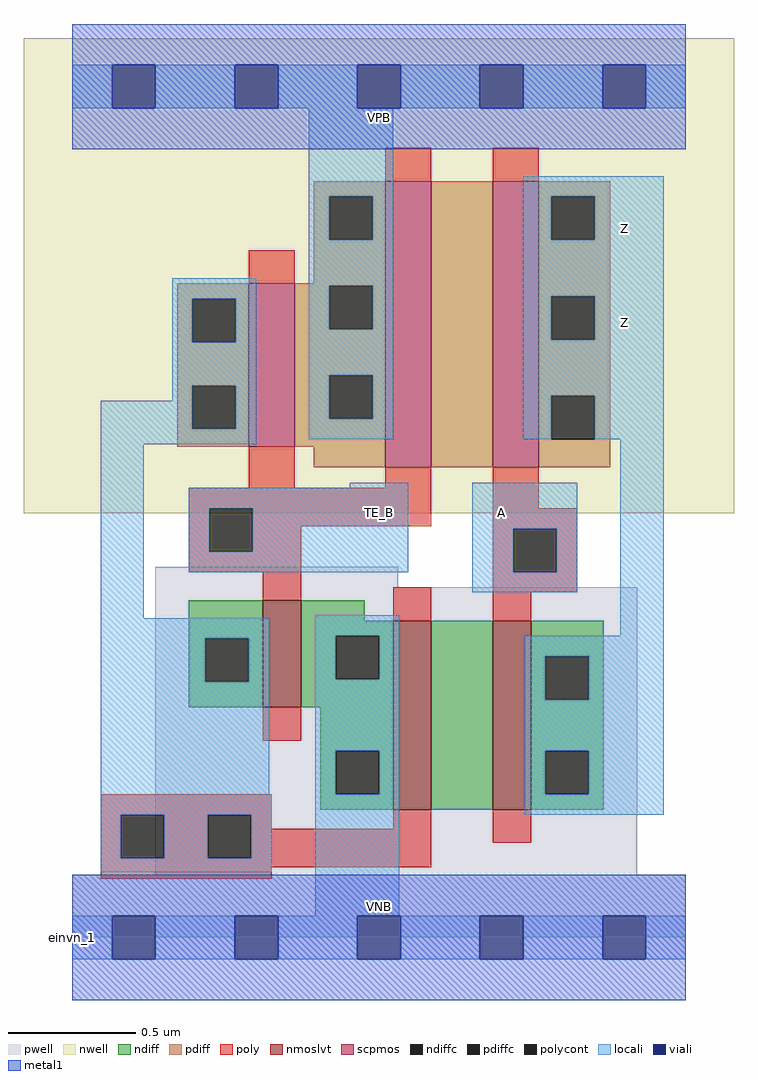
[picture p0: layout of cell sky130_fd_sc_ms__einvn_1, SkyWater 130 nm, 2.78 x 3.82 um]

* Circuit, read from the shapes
.subckt sky130_fd_sc_ms__einvn_1 A TE_B VGND VNB VPB VPWR Z
XM1 VGND TE_B n1 VNB sky130_fd_pr__nfet_01v8_lvt w=0.42 l=0.15
XM2 n2 n1 VGND VNB sky130_fd_pr__nfet_01v8_lvt w=0.74 l=0.15
XM3 Z A n2 VNB sky130_fd_pr__nfet_01v8_lvt w=0.74 l=0.15
XM4 VPWR TE_B n1 VPB sky130_fd_pr__pfet_01v8 w=0.64 l=0.18
XM5 n3 TE_B VPWR VPB sky130_fd_pr__pfet_01v8 w=1.12 l=0.18
XM6 Z A n3 VPB sky130_fd_pr__pfet_01v8 w=1.12 l=0.18
.ends

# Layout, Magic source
magic
tech sky130A
magscale 1 2
<< nwell >>
rect -38 332 518 704
<< pwell >>
rect 65 274 255 290
rect 65 49 442 274
rect 0 0 480 49
<< scpmos >>
rect 138 384 174 512
rect 245 368 281 592
rect 329 368 365 592
<< nmoslvt >>
rect 149 180 179 264
rect 251 100 281 248
rect 329 100 359 248
<< ndiff >>
rect 91 234 149 264
rect 91 200 104 234
rect 138 200 149 234
rect 91 180 149 200
rect 179 248 229 264
rect 179 236 251 248
rect 179 202 206 236
rect 240 202 251 236
rect 179 180 251 202
rect 194 146 251 180
rect 194 112 206 146
rect 240 112 251 146
rect 194 100 251 112
rect 281 100 329 248
rect 359 220 416 248
rect 359 186 370 220
rect 404 186 416 220
rect 359 146 416 186
rect 359 112 370 146
rect 404 112 416 146
rect 359 100 416 112
<< pdiff >>
rect 189 580 245 592
rect 189 546 201 580
rect 235 546 245 580
rect 189 512 245 546
rect 82 500 138 512
rect 82 466 94 500
rect 128 466 138 500
rect 82 432 138 466
rect 82 398 94 432
rect 128 398 138 432
rect 82 384 138 398
rect 174 510 245 512
rect 174 476 201 510
rect 235 476 245 510
rect 174 440 245 476
rect 174 406 201 440
rect 235 406 245 440
rect 174 384 245 406
rect 189 368 245 384
rect 281 368 329 592
rect 365 580 421 592
rect 365 546 375 580
rect 409 546 421 580
rect 365 502 421 546
rect 365 468 375 502
rect 409 468 421 502
rect 365 424 421 468
rect 365 390 375 424
rect 409 390 421 424
rect 365 368 421 390
<< ndiffc >>
rect 104 200 138 234
rect 206 202 240 236
rect 206 112 240 146
rect 370 186 404 220
rect 370 112 404 146
<< pdiffc >>
rect 201 546 235 580
rect 94 466 128 500
rect 94 398 128 432
rect 201 476 235 510
rect 201 406 235 440
rect 375 546 409 580
rect 375 468 409 502
rect 375 390 409 424
<< poly >>
rect 245 592 281 618
rect 329 592 365 618
rect 138 512 174 538
rect 138 352 174 384
rect 245 352 281 368
rect 91 336 281 352
rect 91 302 107 336
rect 141 322 281 336
rect 329 336 365 368
rect 141 302 179 322
rect 91 286 179 302
rect 149 264 179 286
rect 329 320 395 336
rect 329 286 345 320
rect 379 286 395 320
rect 251 248 281 274
rect 329 270 395 286
rect 329 248 359 270
rect 149 154 179 180
rect 22 96 156 112
rect 22 62 38 96
rect 72 62 106 96
rect 140 85 156 96
rect 251 85 281 100
rect 140 62 281 85
rect 329 74 359 100
rect 22 55 281 62
rect 22 46 156 55
<< polycont >>
rect 107 302 141 336
rect 345 286 379 320
rect 38 62 72 96
rect 106 62 140 96
<< locali >>
rect 0 649 31 683
rect 65 649 127 683
rect 161 649 223 683
rect 257 649 319 683
rect 353 649 415 683
rect 449 649 480 683
rect 185 580 251 649
rect 185 546 201 580
rect 235 546 251 580
rect 78 500 144 516
rect 78 466 94 500
rect 128 466 144 500
rect 78 432 144 466
rect 78 420 94 432
rect 22 398 94 420
rect 128 398 144 432
rect 22 386 144 398
rect 185 510 251 546
rect 185 476 201 510
rect 235 476 251 510
rect 185 440 251 476
rect 185 406 201 440
rect 235 406 251 440
rect 185 390 251 406
rect 353 580 463 596
rect 353 546 375 580
rect 409 546 463 580
rect 353 502 463 546
rect 353 468 375 502
rect 409 468 463 502
rect 353 424 463 468
rect 353 390 375 424
rect 409 390 463 424
rect 22 250 56 386
rect 217 352 263 356
rect 91 336 263 352
rect 91 302 107 336
rect 141 302 263 336
rect 91 286 263 302
rect 313 320 395 356
rect 313 286 345 320
rect 379 286 395 320
rect 313 270 395 286
rect 22 234 154 250
rect 22 200 104 234
rect 138 200 154 234
rect 22 112 154 200
rect 190 236 256 252
rect 429 236 463 390
rect 190 202 206 236
rect 240 202 256 236
rect 190 146 256 202
rect 190 112 206 146
rect 240 112 256 146
rect 22 96 156 112
rect 22 62 38 96
rect 72 62 106 96
rect 140 62 156 96
rect 22 51 156 62
rect 190 17 256 112
rect 354 220 463 236
rect 354 186 370 220
rect 404 186 463 220
rect 354 146 463 186
rect 354 112 370 146
rect 404 112 463 146
rect 354 96 463 112
rect 0 -17 31 17
rect 65 -17 127 17
rect 161 -17 223 17
rect 257 -17 319 17
rect 353 -17 415 17
rect 449 -17 480 17
<< viali >>
rect 31 649 65 683
rect 127 649 161 683
rect 223 649 257 683
rect 319 649 353 683
rect 415 649 449 683
rect 31 -17 65 17
rect 127 -17 161 17
rect 223 -17 257 17
rect 319 -17 353 17
rect 415 -17 449 17
<< metal1 >>
rect 0 683 480 715
rect 0 649 31 683
rect 65 649 127 683
rect 161 649 223 683
rect 257 649 319 683
rect 353 649 415 683
rect 449 649 480 683
rect 0 617 480 649
rect 0 17 480 49
rect 0 -17 31 17
rect 65 -17 127 17
rect 161 -17 223 17
rect 257 -17 319 17
rect 353 -17 415 17
rect 449 -17 480 17
rect 0 -49 480 -17
<< labels >>
flabel pwell s 0 0 480 49 0 FreeSans 200 0 0 0 VNB
port 4 nsew ground bidirectional
flabel nwell s 0 617 480 666 0 FreeSans 200 0 0 0 VPB
port 5 nsew power bidirectional
rlabel comment s 0 0 0 0 4 einvn_1
flabel metal1 s 0 617 480 666 0 FreeSans 340 0 0 0 VPWR
port 6 nsew power bidirectional
flabel metal1 s 0 0 480 49 0 FreeSans 340 0 0 0 VGND
port 3 nsew ground bidirectional
flabel locali s 319 316 353 350 0 FreeSans 340 0 0 0 A
port 1 nsew signal input
flabel locali s 415 464 449 498 0 FreeSans 340 0 0 0 Z
port 7 nsew signal output
flabel locali s 415 538 449 572 0 FreeSans 340 0 0 0 Z
port 7 nsew signal output
flabel locali s 223 316 257 350 0 FreeSans 340 0 0 0 TE_B
port 2 nsew signal input
<< properties >>
string LEFsite unit
string LEFclass CORE
string FIXED_BBOX 0 0 480 666
string GDS_FILE $PDKPATH/libs.ref/sky130_fd_sc_ms/gds/sky130_fd_sc_ms.gds
string LEFsymmetry X Y
string GDS_END 2218500
string GDS_START 2213772
<< end >>
